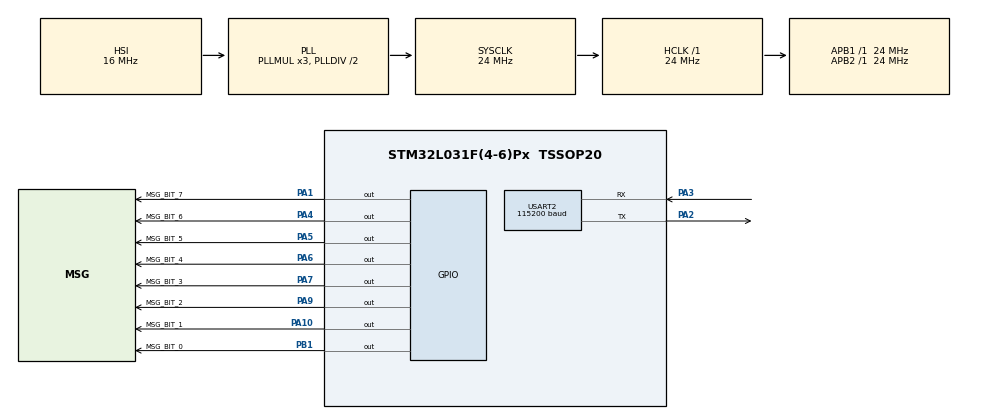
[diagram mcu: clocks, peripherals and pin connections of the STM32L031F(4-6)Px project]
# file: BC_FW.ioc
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Mcu.Family=STM32L0
Mcu.Name=STM32L031F(4-6)Px
Mcu.Package=TSSOP20
NVIC.USART2_IRQn=true\:0\:0\:false\:false\:true\:true\:true\:true
PA0-CK_IN.Signal=RCC_CK_IN
PA1.GPIO_Label=MSG_BIT_7
PA1.GPIO_ModeDefaultOutputPP=GPIO_MODE_OUTPUT_PP
PA1.GPIO_PuPd=GPIO_PULLUP
PA1.GPIO_Speed=GPIO_SPEED_FREQ_LOW
PA1.PinState=GPIO_PIN_SET
PA1.Signal=GPIO_Output
PA10.GPIO_Label=MSG_BIT_1
PA10.GPIO_ModeDefaultOutputPP=GPIO_MODE_OUTPUT_PP
PA10.GPIO_PuPd=GPIO_PULLUP
PA10.PinState=GPIO_PIN_SET
PA10.Signal=GPIO_Output
PA13.Mode=Serial_Wire
PA13.Signal=SYS_SWDIO
PA14.Mode=Serial_Wire
PA14.Signal=SYS_SWCLK
PA2.Mode=Asynchronous
PA2.Signal=USART2_TX
PA3.Mode=Asynchronous
PA3.Signal=USART2_RX
PA4.GPIO_Label=MSG_BIT_6
PA4.GPIO_ModeDefaultOutputPP=GPIO_MODE_OUTPUT_PP
PA4.GPIO_PuPd=GPIO_PULLUP
PA4.PinState=GPIO_PIN_SET
PA4.Signal=GPIO_Output
PA5.GPIO_Label=MSG_BIT_5
PA5.GPIO_ModeDefaultOutputPP=GPIO_MODE_OUTPUT_PP
PA5.GPIO_PuPd=GPIO_PULLUP
PA5.PinState=GPIO_PIN_SET
PA5.Signal=GPIO_Output
PA6.GPIO_Label=MSG_BIT_4
PA6.GPIO_ModeDefaultOutputPP=GPIO_MODE_OUTPUT_PP
PA6.GPIO_PuPd=GPIO_PULLUP
PA6.PinState=GPIO_PIN_SET
PA6.Signal=GPIO_Output
PA7.GPIO_Label=MSG_BIT_3
PA7.GPIO_ModeDefaultOutputPP=GPIO_MODE_OUTPUT_PP
PA7.GPIO_PuPd=GPIO_PULLUP
PA7.PinState=GPIO_PIN_SET
PA7.Signal=GPIO_Output
PA9.GPIO_Label=MSG_BIT_2
PA9.GPIO_ModeDefaultOutputPP=GPIO_MODE_OUTPUT_PP
PA9.GPIO_PuPd=GPIO_PULLUP
PA9.PinState=GPIO_PIN_SET
PA9.Signal=GPIO_Output
PB1.GPIO_Label=MSG_BIT_0
PB1.GPIO_ModeDefaultOutputPP=GPIO_MODE_OUTPUT_PP
PB1.GPIO_PuPd=GPIO_PULLUP
PB1.GPIO_Speed=GPIO_SPEED_FREQ_LOW
PB1.PinState=GPIO_PIN_SET
PB1.Signal=GPIO_Output
PC14-OSC32_IN.Mode=LSE-External-Oscillator
PC14-OSC32_IN.Signal=RCC_OSC32_IN
PC15-OSC32_OUT.Mode=LSE-External-Oscillator
PC15-OSC32_OUT.Signal=RCC_OSC32_OUT
ProjectManager.HeapSize=0x200
ProjectManager.StackSize=0x400
ProjectManager.TargetToolchain=STM32CubeIDE
RCC.AHBFreq_Value=24000000
RCC.APB1Freq_Value=24000000
RCC.APB1TimFreq_Value=24000000
RCC.APB2Freq_Value=24000000
RCC.APB2TimFreq_Value=24000000
RCC.HCLKFreq_Value=24000000
RCC.HSE_VALUE=32768
RCC.HSI16_VALUE=16000000
RCC.HSI_VALUE=16000000
RCC.MSI_VALUE=2097000
RCC.SYSCLKFreq_VALUE=24000000
RCC.SYSCLKSource=RCC_SYSCLKSOURCE_PLLCLK
RCC.VCOOutputFreq_Value=48000000
USART2.BaudRate=115200
USART2.VirtualMode-Asynchronous=VM_ASYNC
board=custom

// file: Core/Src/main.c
/* USER CODE BEGIN Header */
/**
 ******************************************************************************
 * @file           : main.c
 * @brief          : Main program body
 ******************************************************************************
 * @attention
 *
 * Copyright (c) 2025 STMicroelectronics.
 * All rights reserved.
 *
 * This software is licensed under terms that can be found in the LICENSE file
 * in the root directory of this software component.
 * If no LICENSE file comes with this software, it is provided AS-IS.
 *
 ******************************************************************************
 */
/* USER CODE END Header */
#include "main.h"

/* USER CODE BEGIN Includes */
#include "use_printf.h"
#include "input_handler.h"
#include "user_commands.h"
#include "ui.h"
/* USER CODE END Includes */

UART_HandleTypeDef huart2;

/* USER CODE BEGIN PV */
char msg[256] = "ECE on top!";
uint8_t msg_len = 11;

/* USER CODE END PV */

void SystemClock_Config(void);
static void MX_GPIO_Init(void);
static void MX_USART2_UART_Init(void);

/* USER CODE BEGIN 0 */
int _write(int file, char *data, int len) {
	HAL_UART_Transmit(&huart2, (uint8_t*) data, len, HAL_MAX_DELAY);
	return len;
}
/* USER CODE END 0 */

int main(void) {

	/* USER CODE BEGIN 1 */
	HAL_GPIO_WritePin(GPIOA, MSG_BIT_1_Pin, GPIO_PIN_RESET);

	/* USER CODE END 1 */

	/* MCU Configuration--------------------------------------------------------*/

	/* Reset of all peripherals, Initializes the Flash interface and the Systick. */
	HAL_Init();

	/* Configure the system clock */
	SystemClock_Config();

	/* Initialize all configured peripherals */
	MX_GPIO_Init();
	MX_USART2_UART_Init();
	/* USER CODE BEGIN 2 */

	/* Init input buffer */
	ring_buffer_t input_buffer;
	rbuff_init(&input_buffer);

	/* Create temp UART buffer */
	uint8_t uart_buff = '\0';
	printf("Init complete.\r\n");

	/* USER CODE END 2 */

	/* Infinite loop */
	/* USER CODE BEGIN WHILE */
	while (1) {

		printf("%s\r\n", msg);
		ui_print_message(&msg, msg_len);

		HAL_UART_Receive_IT(&huart2, &uart_buff, 1);
		if (uart_buff != '\0') {
			HAL_UART_Transmit(&huart2, &uart_buff, 1, 100); //echo
			while (rbuff_add_val(&input_buffer, uart_buff) == BUFF_BUSY)
				;
			uart_buff = '\0';
			printf("%s\r\n", msg);

		}

		/* USER CODE END WHILE */

	}
}

void SystemClock_Config(void) {
	RCC_OscInitTypeDef RCC_OscInitStruct = { 0 };
	RCC_ClkInitTypeDef RCC_ClkInitStruct = { 0 };
	RCC_PeriphCLKInitTypeDef PeriphClkInit = { 0 };

	/** Configure the main internal regulator output voltage
	 */
	__HAL_PWR_VOLTAGESCALING_CONFIG(PWR_REGULATOR_VOLTAGE_SCALE1);

	/** Initializes the RCC Oscillators according to the specified parameters
	 * in the RCC_OscInitTypeDef structure.
	 */
	RCC_OscInitStruct.OscillatorType = RCC_OSCILLATORTYPE_HSI;
	RCC_OscInitStruct.HSIState = RCC_HSI_ON;
	RCC_OscInitStruct.HSICalibrationValue = RCC_HSICALIBRATION_DEFAULT;
	RCC_OscInitStruct.PLL.PLLState = RCC_PLL_ON;
	RCC_OscInitStruct.PLL.PLLSource = RCC_PLLSOURCE_HSI;
	RCC_OscInitStruct.PLL.PLLMUL = RCC_PLLMUL_3;
	RCC_OscInitStruct.PLL.PLLDIV = RCC_PLLDIV_2;
	if (HAL_RCC_OscConfig(&RCC_OscInitStruct) != HAL_OK) {
		Error_Handler();
	}

	/** Initializes the CPU, AHB and APB buses clocks
	 */
	RCC_ClkInitStruct.ClockType = RCC_CLOCKTYPE_HCLK | RCC_CLOCKTYPE_SYSCLK
			| RCC_CLOCKTYPE_PCLK1 | RCC_CLOCKTYPE_PCLK2;
	RCC_ClkInitStruct.SYSCLKSource = RCC_SYSCLKSOURCE_PLLCLK;
	RCC_ClkInitStruct.AHBCLKDivider = RCC_SYSCLK_DIV1;
	RCC_ClkInitStruct.APB1CLKDivider = RCC_HCLK_DIV1;
	RCC_ClkInitStruct.APB2CLKDivider = RCC_HCLK_DIV1;

	if (HAL_RCC_ClockConfig(&RCC_ClkInitStruct, FLASH_LATENCY_1) != HAL_OK) {
		Error_Handler();
	}
	PeriphClkInit.PeriphClockSelection = RCC_PERIPHCLK_USART2;
	PeriphClkInit.Usart2ClockSelection = RCC_USART2CLKSOURCE_PCLK1;
	if (HAL_RCCEx_PeriphCLKConfig(&PeriphClkInit) != HAL_OK) {
		Error_Handler();
	}
}

static void MX_USART2_UART_Init(void) {

	huart2.Instance = USART2;
	huart2.Init.BaudRate = 115200;
	huart2.Init.WordLength = UART_WORDLENGTH_8B;
	huart2.Init.StopBits = UART_STOPBITS_1;
	huart2.Init.Parity = UART_PARITY_NONE;
	huart2.Init.Mode = UART_MODE_TX_RX;
	huart2.Init.HwFlowCtl = UART_HWCONTROL_NONE;
	huart2.Init.OverSampling = UART_OVERSAMPLING_16;
	huart2.Init.OneBitSampling = UART_ONE_BIT_SAMPLE_DISABLE;
	huart2.AdvancedInit.AdvFeatureInit = UART_ADVFEATURE_NO_INIT;
	if (HAL_UART_Init(&huart2) != HAL_OK) {
		Error_Handler();
	}

}

static void MX_GPIO_Init(void) {
	GPIO_InitTypeDef GPIO_InitStruct = { 0 };

	/* GPIO Ports Clock Enable */
	__HAL_RCC_GPIOC_CLK_ENABLE();
	__HAL_RCC_GPIOA_CLK_ENABLE();
	__HAL_RCC_GPIOB_CLK_ENABLE();

	/*Configure GPIO pin Output Level */
	HAL_GPIO_WritePin(GPIOA,
			MSG_BIT_7_Pin | MSG_BIT_6_Pin | MSG_BIT_5_Pin | MSG_BIT_4_Pin
					| MSG_BIT_3_Pin | MSG_BIT_2_Pin | MSG_BIT_1_Pin,
			GPIO_PIN_SET);

	/*Configure GPIO pin Output Level */
	HAL_GPIO_WritePin(MSG_BIT_0_GPIO_Port, MSG_BIT_0_Pin, GPIO_PIN_SET);

	/*Configure GPIO pins : MSG_BIT_7_Pin MSG_BIT_6_Pin MSG_BIT_5_Pin MSG_BIT_4_Pin
	 MSG_BIT_3_Pin MSG_BIT_2_Pin MSG_BIT_1_Pin */
	GPIO_InitStruct.Pin = MSG_BIT_7_Pin | MSG_BIT_6_Pin | MSG_BIT_5_Pin
			| MSG_BIT_4_Pin | MSG_BIT_3_Pin | MSG_BIT_2_Pin | MSG_BIT_1_Pin;
	GPIO_InitStruct.Mode = GPIO_MODE_OUTPUT_PP;
	GPIO_InitStruct.Pull = GPIO_PULLUP;
	GPIO_InitStruct.Speed = GPIO_SPEED_FREQ_LOW;
	HAL_GPIO_Init(GPIOA, &GPIO_InitStruct);

	/*Configure GPIO pin : MSG_BIT_0_Pin */
	GPIO_InitStruct.Pin = MSG_BIT_0_Pin;
	GPIO_InitStruct.Mode = GPIO_MODE_OUTPUT_PP;
	GPIO_InitStruct.Pull = GPIO_PULLUP;
	GPIO_InitStruct.Speed = GPIO_SPEED_FREQ_LOW;
	HAL_GPIO_Init(MSG_BIT_0_GPIO_Port, &GPIO_InitStruct);

}

void Error_Handler(void) {
	__disable_irq();
	while (1) {
	}
}
